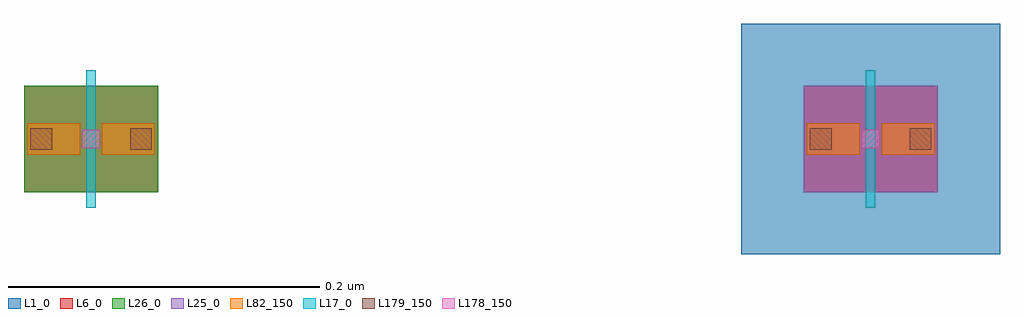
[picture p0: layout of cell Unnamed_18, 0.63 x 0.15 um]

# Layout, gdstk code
import gdstk
lib = gdstk.Library(unit=1e-6, precision=5e-10)
def R(c, l, rs):  # rectangles x0, y0, x1, y1
    for r in rs: c.add(gdstk.rectangle(r[:2], r[2:], *l))
L1_0 = (1, 0)
L6_0 = (6, 0)
L17_0 = (17, 0)
L25_0 = (25, 0)
L26_0 = (26, 0)
L82_150 = (82, 150)
L178_150 = (178, 150)
L179_150 = (179, 150)

nmos_finger_wonone_lgnon = lib.new_cell('nmos_finger_WONone_LGNone_OE0p04_INFalse')
R(nmos_finger_wonone_lgnon, L6_0, [(0,-0.034,0.086,0.034)])
R(nmos_finger_wonone_lgnon, L17_0, [(0.04,-0.044,0.046,0.044)])
R(nmos_finger_wonone_lgnon, L26_0, [(0,-0.034,0.086,0.034)])
R(nmos_finger_wonone_lgnon, L82_150, [(0.002,-0.01,0.036,0.01), (0.05,-0.01,0.084,0.01)])
R(nmos_finger_wonone_lgnon, L178_150, [(0.037,-0.006,0.049,0.006)])
R(nmos_finger_wonone_lgnon, L179_150, [(0.004,-0.007,0.018,0.007), (0.068,-0.007,0.082,0.007)])

pmos_finger_wonone_lgnon = lib.new_cell('pmos_finger_WONone_LGNone_OE0p04_INTrue')
R(pmos_finger_wonone_lgnon, L1_0, [(-0.04,-0.074,0.126,0.074)])
R(pmos_finger_wonone_lgnon, L6_0, [(0,-0.034,0.086,0.034)])
R(pmos_finger_wonone_lgnon, L17_0, [(0.04,-0.044,0.046,0.044)])
R(pmos_finger_wonone_lgnon, L25_0, [(0,-0.034,0.086,0.034)])
R(pmos_finger_wonone_lgnon, L82_150, [(0.002,-0.01,0.036,0.01), (0.05,-0.01,0.084,0.01)])
R(pmos_finger_wonone_lgnon, L178_150, [(0.037,-0.006,0.049,0.006)])
R(pmos_finger_wonone_lgnon, L179_150, [(0.004,-0.007,0.018,0.007), (0.068,-0.007,0.082,0.007)])

unnamed_18 = lib.new_cell('Unnamed_18')
unnamed_18.add(gdstk.Reference(nmos_finger_wonone_lgnon, (0,0)))
unnamed_18.add(gdstk.Reference(pmos_finger_wonone_lgnon, (0.5,0)))

lib.write_gds('Unnamed_18.gds')
